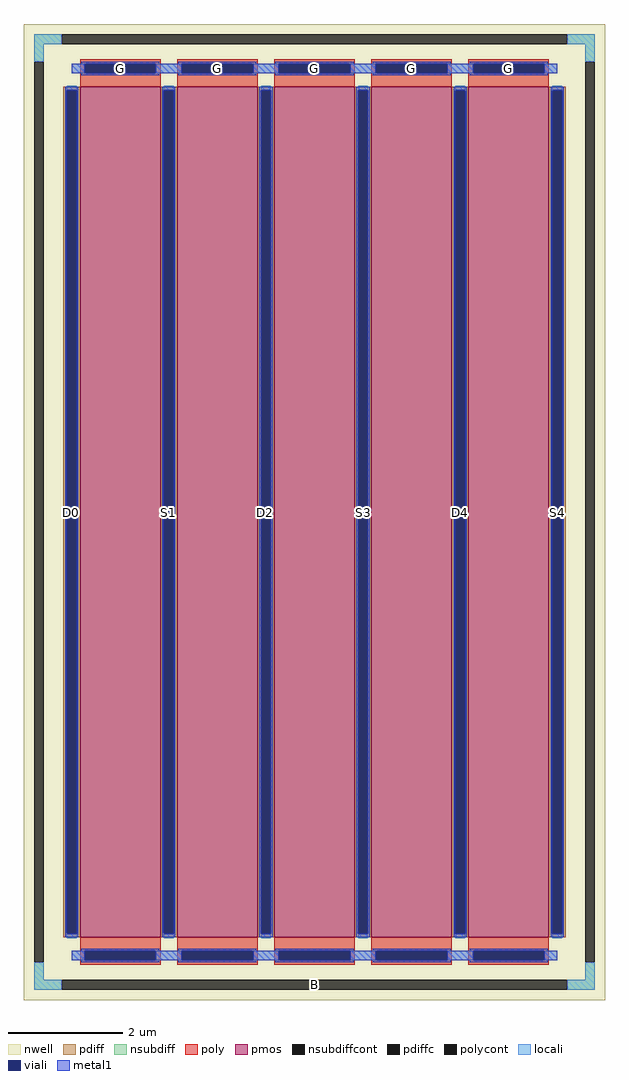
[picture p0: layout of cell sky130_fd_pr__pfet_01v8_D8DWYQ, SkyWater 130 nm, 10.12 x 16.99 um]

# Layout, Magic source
magic
tech sky130A
magscale 1 2
<< nwell >>
rect -1012 -1699 1012 1699
<< pmos >>
rect -816 -1480 -536 1480
rect -478 -1480 -198 1480
rect -140 -1480 140 1480
rect 198 -1480 478 1480
rect 536 -1480 816 1480
<< pdiff >>
rect -874 1468 -816 1480
rect -874 -1468 -862 1468
rect -828 -1468 -816 1468
rect -874 -1480 -816 -1468
rect -536 1468 -478 1480
rect -536 -1468 -524 1468
rect -490 -1468 -478 1468
rect -536 -1480 -478 -1468
rect -198 1468 -140 1480
rect -198 -1468 -186 1468
rect -152 -1468 -140 1468
rect -198 -1480 -140 -1468
rect 140 1468 198 1480
rect 140 -1468 152 1468
rect 186 -1468 198 1468
rect 140 -1480 198 -1468
rect 478 1468 536 1480
rect 478 -1468 490 1468
rect 524 -1468 536 1468
rect 478 -1480 536 -1468
rect 816 1468 874 1480
rect 816 -1468 828 1468
rect 862 -1468 874 1468
rect 816 -1480 874 -1468
<< pdiffc >>
rect -862 -1468 -828 1468
rect -524 -1468 -490 1468
rect -186 -1468 -152 1468
rect 152 -1468 186 1468
rect 490 -1468 524 1468
rect 828 -1468 862 1468
<< nsubdiff >>
rect -976 1629 -880 1663
rect 880 1629 976 1663
rect -976 1567 -942 1629
rect 942 1567 976 1629
rect -976 -1629 -942 -1567
rect 942 -1629 976 -1567
rect -976 -1663 -880 -1629
rect 880 -1663 976 -1629
<< nsubdiffcont >>
rect -880 1629 880 1663
rect -976 -1567 -942 1567
rect 942 -1567 976 1567
rect -880 -1663 880 -1629
<< poly >>
rect -816 1561 -536 1577
rect -816 1527 -800 1561
rect -552 1527 -536 1561
rect -816 1480 -536 1527
rect -478 1561 -198 1577
rect -478 1527 -462 1561
rect -214 1527 -198 1561
rect -478 1480 -198 1527
rect -140 1561 140 1577
rect -140 1527 -124 1561
rect 124 1527 140 1561
rect -140 1480 140 1527
rect 198 1561 478 1577
rect 198 1527 214 1561
rect 462 1527 478 1561
rect 198 1480 478 1527
rect 536 1561 816 1577
rect 536 1527 552 1561
rect 800 1527 816 1561
rect 536 1480 816 1527
rect -816 -1527 -536 -1480
rect -816 -1561 -800 -1527
rect -552 -1561 -536 -1527
rect -816 -1577 -536 -1561
rect -478 -1527 -198 -1480
rect -478 -1561 -462 -1527
rect -214 -1561 -198 -1527
rect -478 -1577 -198 -1561
rect -140 -1527 140 -1480
rect -140 -1561 -124 -1527
rect 124 -1561 140 -1527
rect -140 -1577 140 -1561
rect 198 -1527 478 -1480
rect 198 -1561 214 -1527
rect 462 -1561 478 -1527
rect 198 -1577 478 -1561
rect 536 -1527 816 -1480
rect 536 -1561 552 -1527
rect 800 -1561 816 -1527
rect 536 -1577 816 -1561
<< polycont >>
rect -800 1527 -552 1561
rect -462 1527 -214 1561
rect -124 1527 124 1561
rect 214 1527 462 1561
rect 552 1527 800 1561
rect -800 -1561 -552 -1527
rect -462 -1561 -214 -1527
rect -124 -1561 124 -1527
rect 214 -1561 462 -1527
rect 552 -1561 800 -1527
<< locali >>
rect -976 1629 -880 1663
rect 880 1629 976 1663
rect -976 1567 -942 1629
rect 942 1567 976 1629
rect -845 1527 -800 1561
rect -552 1527 -462 1561
rect -214 1527 -124 1561
rect 124 1527 214 1561
rect 462 1527 552 1561
rect 800 1527 845 1561
rect -862 1468 -828 1484
rect -862 -1484 -828 -1468
rect -524 1468 -490 1484
rect -524 -1484 -490 -1468
rect -186 1468 -152 1484
rect -186 -1484 -152 -1468
rect 152 1468 186 1484
rect 152 -1484 186 -1468
rect 490 1468 524 1484
rect 490 -1484 524 -1468
rect 828 1468 862 1484
rect 828 -1484 862 -1468
rect -845 -1561 -800 -1527
rect -552 -1561 -462 -1527
rect -214 -1561 -124 -1527
rect 124 -1561 214 -1527
rect 462 -1561 552 -1527
rect 800 -1561 845 -1527
rect -976 -1629 -942 -1567
rect 942 -1629 976 -1567
rect -976 -1663 -880 -1629
rect 880 -1663 976 -1629
<< viali >>
rect -800 1527 -552 1561
rect -462 1527 -214 1561
rect -124 1527 124 1561
rect 214 1527 462 1561
rect 552 1527 800 1561
rect -862 -1468 -828 1468
rect -524 -1468 -490 1468
rect -186 -1468 -152 1468
rect 152 -1468 186 1468
rect 490 -1468 524 1468
rect 828 -1468 862 1468
rect -800 -1561 -552 -1527
rect -462 -1561 -214 -1527
rect -124 -1561 124 -1527
rect 214 -1561 462 -1527
rect 552 -1561 800 -1527
<< metal1 >>
rect -812 1561 -540 1567
rect -474 1561 -202 1567
rect -136 1561 136 1567
rect 202 1561 474 1567
rect 540 1561 812 1567
rect -845 1527 -800 1561
rect -552 1527 -462 1561
rect -214 1527 -124 1561
rect 124 1527 214 1561
rect 462 1527 552 1561
rect 800 1527 845 1561
rect -812 1521 -540 1527
rect -474 1521 -202 1527
rect -136 1521 136 1527
rect 202 1521 474 1527
rect 540 1521 812 1527
rect -868 1468 -822 1480
rect -868 -1468 -862 1468
rect -828 -1468 -822 1468
rect -868 -1480 -822 -1468
rect -530 1468 -484 1480
rect -530 -1468 -524 1468
rect -490 -1468 -484 1468
rect -530 -1480 -484 -1468
rect -192 1468 -146 1480
rect -192 -1468 -186 1468
rect -152 -1468 -146 1468
rect -192 -1480 -146 -1468
rect 146 1468 192 1480
rect 146 -1468 152 1468
rect 186 -1468 192 1468
rect 146 -1480 192 -1468
rect 484 1468 530 1480
rect 484 -1468 490 1468
rect 524 -1468 530 1468
rect 484 -1480 530 -1468
rect 822 1468 868 1480
rect 822 -1468 828 1468
rect 862 -1468 868 1468
rect 822 -1480 868 -1468
rect -812 -1527 -540 -1521
rect -474 -1527 -202 -1521
rect -136 -1527 136 -1521
rect 202 -1527 474 -1521
rect 540 -1527 812 -1521
rect -845 -1561 -800 -1527
rect -552 -1561 -462 -1527
rect -214 -1561 -124 -1527
rect 124 -1561 214 -1527
rect 462 -1561 552 -1527
rect 800 -1561 845 -1527
rect -812 -1567 -540 -1561
rect -474 -1567 -202 -1561
rect -136 -1567 136 -1561
rect 202 -1567 474 -1561
rect 540 -1567 812 -1561
<< labels >>
rlabel nsubdiffcont 0 -1646 0 -1646 0 B
port 1 nsew
rlabel pdiffc -845 0 -845 0 0 D0
port 2 nsew
rlabel polycont -676 1544 -676 1544 0 G
port 3 nsew
rlabel pdiffc -507 0 -507 0 0 S1
port 4 nsew
rlabel polycont -338 1544 -338 1544 0 G
port 3 nsew
rlabel pdiffc -169 0 -169 0 0 D2
port 5 nsew
rlabel polycont 0 1544 0 1544 0 G
port 3 nsew
rlabel pdiffc 169 0 169 0 0 S3
port 6 nsew
rlabel polycont 338 1544 338 1544 0 G
port 3 nsew
rlabel pdiffc 507 0 507 0 0 D4
port 7 nsew
rlabel pdiffc 845 0 845 0 0 S4
port 8 nsew
rlabel polycont 676 1544 676 1544 0 G
port 3 nsew
<< properties >>
string FIXED_BBOX -959 -1646 959 1646
string gencell sky130_fd_pr__pfet_01v8
string library sky130
string parameters w 14.8 l 1.4 m 1 nf 5 diffcov 100 polycov 100 guard 1 glc 1 grc 1 gtc 1 gbc 1 tbcov 100 rlcov 100 topc 1 botc 1 poverlap 0 doverlap 1 lmin 0.15 wmin 0.42 class mosfet compatible {sky130_fd_pr__pfet_01v8  sky130_fd_pr__pfet_01v8_lvt sky130_fd_pr__pfet_01v8_hvt  sky130_fd_pr__pfet_g5v0d10v5} full_metal 1 conn_gates 1 viasrc 100 viadrn 100 viagate 100 viagb 0 viagr 0 viagl 0 viagt 0 doports 1
<< end >>
